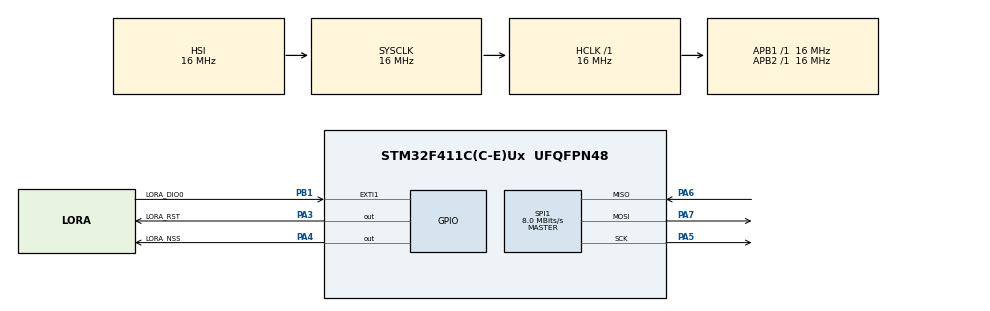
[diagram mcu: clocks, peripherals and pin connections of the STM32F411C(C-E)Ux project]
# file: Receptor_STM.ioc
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Mcu.Family=STM32F4
Mcu.Name=STM32F411C(C-E)Ux
Mcu.Package=UFQFPN48
NVIC.PriorityGroup=NVIC_PRIORITYGROUP_4
PA3.GPIO_Label=LORA_RST
PA3.Signal=GPIO_Output
PA4.GPIO_Label=LORA_NSS
PA4.Signal=GPIO_Output
PA5.Mode=Full_Duplex_Master
PA5.Signal=SPI1_SCK
PA6.Mode=Full_Duplex_Master
PA6.Signal=SPI1_MISO
PA7.Mode=Full_Duplex_Master
PA7.Signal=SPI1_MOSI
PB1.GPIO_Label=LORA_DIO0
PB1.Signal=GPXTI1
ProjectManager.HeapSize=0x200
ProjectManager.StackSize=0x400
ProjectManager.TargetToolchain=STM32CubeIDE
RCC.AHBFreq_Value=16000000
RCC.APB1Freq_Value=16000000
RCC.APB2Freq_Value=16000000
RCC.CortexFreq_Value=16000000
RCC.HSE_VALUE=25000000
RCC.HSI_VALUE=16000000
RCC.LSE_VALUE=32768
RCC.SYSCLKFreq_VALUE=16000000
RCC.VCOOutputFreq_Value=192000000
SPI1.CalculateBaudRate=8.0 MBits/s
SPI1.Direction=SPI_DIRECTION_2LINES
SPI1.Mode=SPI_MODE_MASTER
SPI1.VirtualType=VM_MASTER
board=custom

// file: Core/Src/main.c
/* USER CODE BEGIN Header */
/**
  ******************************************************************************
  * @file           : main.c
  * @brief          : Main program body
  ******************************************************************************
  * @attention
  *
  * Copyright (c) 2026 STMicroelectronics.
  * All rights reserved.
  *
  * This software is licensed under terms that can be found in the LICENSE file
  * in the root directory of this software component.
  * If no LICENSE file comes with this software, it is provided AS-IS.
  *
  ******************************************************************************
  */
/* USER CODE END Header */
#include "main.h"

#include "telemetry.h"
#include <string.h>
#include <stdio.h>
#include <sx1278_rx.h>
#include <sx1278_tx.h>

SPI_HandleTypeDef hspi1;

/* USER CODE BEGIN PV */

// SX1278
volatile uint8_t sx1278_detected = 0;
volatile uint8_t sx1278_version = 0;

volatile uint8_t pkt_valido   = 0;
volatile uint8_t seq          = 0;
volatile int16_t temperature  = 0;
volatile uint16_t altitude      = 0;
volatile uint16_t pressure      = 0;
volatile int8_t rssi         = 0;
volatile int8_t snr          = 0;
volatile uint32_t count        = 0;   // cuántos paquetes válidos recibidos
volatile uint8_t magic			  = 0;
volatile uint8_t checksum_rx	  = 0;
volatile uint8_t sizepkt		  = 0;
volatile uint8_t lora = 1;

// ── DEBUG registros crudos del SX1278 ──
volatile uint8_t reg_opmode   = 0;  // 0x01 — debe ser 0x85 (RX continuo)
volatile uint8_t reg_irqflags = 0;  // 0x12 — aquí veremos qué bits se activan
volatile uint8_t reg_modem1   = 0;  // 0x1D — BW/CR
volatile uint8_t reg_modem2   = 0;  // 0x1E — SF/CRC
volatile uint8_t reg_syncword = 0;  // 0x39 — debe ser 0x34
volatile uint8_t reg_hopch    = 0;  // 0x1C — canal actual
volatile uint8_t reg_rxbytes  = 0;  // 0x13 — bytes en FIFO
/* USER CODE END PV */

void SystemClock_Config(void);
static void MX_GPIO_Init(void);
static void MX_SPI1_Init(void);

/* Checksum: XOR de los bytes (igual que en el transmisor) */
static uint8_t calc_checksum(uint8_t *data, uint8_t len)
{
    uint8_t c = 0;
    for (uint8_t i = 0; i < len; i++) c ^= data[i];
    return c;
}

int main(void)
{

  /* MCU Configuration--------------------------------------------------------*/

  /* Reset of all peripherals, Initializes the Flash interface and the Systick. */
+  HAL_Init();

  /* Configure the system clock */
  SystemClock_Config();

  /* Initialize all configured peripherals */
  MX_GPIO_Init();
  HAL_NVIC_SetPriority(EXTI1_IRQn, 0, 0);   // PB1 → EXTI1
  HAL_NVIC_EnableIRQ(EXTI1_IRQn);
  MX_SPI1_Init();

  /* Infinite loop */
  /* USER CODE BEGIN WHILE */
  sx1278_rx_init();

  reg_modem1   = sx1278_read(0x1D);
  reg_modem2   = sx1278_read(0x1E);
  reg_syncword = sx1278_read(0x39);

  uint8_t rx_buf[64];

  sx1278_version = sx1278_check();

  	  if (sx1278_version == 0x12)
  	  {
  		  sx1278_detected = 1;
  	  }
  	  else
  	  {
  		  sx1278_detected = 0;

  	  }

  	/*
  	// ── TEST: forzar el módulo RX a transmitir ──
  	sx1278__tx_init();  // reconfigura como TX

  	uint8_t test_buf[] = {0xCA, 0x01, 0x02, 0x03};
  	sx1278_send(test_buf, sizeof(test_buf));
  	HAL_Delay(500);

  	sx1278_rx_init();  // volver a RX
  	*/

  	while (1)
  	{

  	    reg_opmode   = sx1278_read(0x01);
  	    reg_irqflags = sx1278_read(0x12);
  	    reg_modem1   = sx1278_read(0x1D);
  	    reg_modem2   = sx1278_read(0x1E);
  	    reg_syncword = sx1278_read(0x39);
  	    reg_hopch    = sx1278_read(0x1C);
  	    reg_rxbytes  = sx1278_read(0x13);

  	    if (sx1278_rx_available())
  	    {
  	    	TelemetryPacketLoRa rxPacket;
  	        if (sx1278_rx_read((uint8_t*)&rxPacket, sizeof(TelemetryPacketLoRa)) > 0)
  	        {
  	        	uint8_t calc_cksum = 0;
  	        	uint8_t *raw = (uint8_t*)&rxPacket;
  	        	for (int i = 0; i < sizeof(TelemetryPacketLoRa) - 1; i++){
  	        		calc_cksum ^= raw[i];
  	        	}

  	        	if (calc_cksum == rxPacket.checksum && rxPacket.magic == 0xCA){
  	        		continue;
  	        	}
  	        }

  	        memcpy(&rxPacket, rx_buf, sizeof(TelemetryPacketLoRa));

  	        if (rxPacket.magic != 0xCA) { magic = rxPacket.magic; continue; }

  	        seq         = rxPacket.pkt;
  	        temperature = rxPacket.temperatura;
  	        altitude    = rxPacket.altitud;
  	        pressure    = rxPacket.presion;
  	        rssi        = sx1278_rx_rssi();
  	        snr         = sx1278_rx_snr();
  	        pkt_valido  = 1;
  	        count++;
  	    }
  	}
  /* USER CODE END 3 */
}

void SystemClock_Config(void)
{
  RCC_OscInitTypeDef RCC_OscInitStruct = {0};
  RCC_ClkInitTypeDef RCC_ClkInitStruct = {0};

  /** Configure the main internal regulator output voltage
  */
  __HAL_RCC_PWR_CLK_ENABLE();
  __HAL_PWR_VOLTAGESCALING_CONFIG(PWR_REGULATOR_VOLTAGE_SCALE1);

  /** Initializes the RCC Oscillators according to the specified parameters
  * in the RCC_OscInitTypeDef structure.
  */
  RCC_OscInitStruct.OscillatorType = RCC_OSCILLATORTYPE_HSI;
  RCC_OscInitStruct.HSIState = RCC_HSI_ON;
  RCC_OscInitStruct.HSICalibrationValue = RCC_HSICALIBRATION_DEFAULT;
  RCC_OscInitStruct.PLL.PLLState = RCC_PLL_NONE;
  if (HAL_RCC_OscConfig(&RCC_OscInitStruct) != HAL_OK)
  {
    Error_Handler();
  }

  /** Initializes the CPU, AHB and APB buses clocks
  */
  RCC_ClkInitStruct.ClockType = RCC_CLOCKTYPE_HCLK|RCC_CLOCKTYPE_SYSCLK
                              |RCC_CLOCKTYPE_PCLK1|RCC_CLOCKTYPE_PCLK2;
  RCC_ClkInitStruct.SYSCLKSource = RCC_SYSCLKSOURCE_HSI;
  RCC_ClkInitStruct.AHBCLKDivider = RCC_SYSCLK_DIV1;
  RCC_ClkInitStruct.APB1CLKDivider = RCC_HCLK_DIV1;
  RCC_ClkInitStruct.APB2CLKDivider = RCC_HCLK_DIV1;

  if (HAL_RCC_ClockConfig(&RCC_ClkInitStruct, FLASH_LATENCY_0) != HAL_OK)
  {
    Error_Handler();
  }
}

static void MX_SPI1_Init(void)
{

  /* SPI1 parameter configuration*/
  hspi1.Instance = SPI1;
  hspi1.Init.Mode = SPI_MODE_MASTER;
  hspi1.Init.Direction = SPI_DIRECTION_2LINES;
  hspi1.Init.DataSize = SPI_DATASIZE_8BIT;
  hspi1.Init.CLKPolarity = SPI_POLARITY_LOW;
  hspi1.Init.CLKPhase = SPI_PHASE_1EDGE;
  hspi1.Init.NSS = SPI_NSS_SOFT;
  hspi1.Init.BaudRatePrescaler = SPI_BAUDRATEPRESCALER_2;
  hspi1.Init.FirstBit = SPI_FIRSTBIT_MSB;
  hspi1.Init.TIMode = SPI_TIMODE_DISABLE;
  hspi1.Init.CRCCalculation = SPI_CRCCALCULATION_DISABLE;
  hspi1.Init.CRCPolynomial = 10;
  if (HAL_SPI_Init(&hspi1) != HAL_OK)
  {
    Error_Handler();
  }

}

static void MX_GPIO_Init(void)
{
  GPIO_InitTypeDef GPIO_InitStruct = {0};

  /* GPIO Ports Clock Enable */
  __HAL_RCC_GPIOA_CLK_ENABLE();
  __HAL_RCC_GPIOB_CLK_ENABLE();

  /*Configure GPIO pin Output Level */
  HAL_GPIO_WritePin(GPIOA, LORA_RST_Pin|LORA_NSS_Pin, GPIO_PIN_RESET);

  /*Configure GPIO pins : LORA_RST_Pin LORA_NSS_Pin */
  GPIO_InitStruct.Pin = LORA_RST_Pin|LORA_NSS_Pin;
  GPIO_InitStruct.Mode = GPIO_MODE_OUTPUT_PP;
  GPIO_InitStruct.Pull = GPIO_NOPULL;
  GPIO_InitStruct.Speed = GPIO_SPEED_FREQ_LOW;
  HAL_GPIO_Init(GPIOA, &GPIO_InitStruct);

  /*Configure GPIO pin : LORA_DIO0_Pin */
  GPIO_InitStruct.Pin = LORA_DIO0_Pin;
  GPIO_InitStruct.Mode = GPIO_MODE_IT_RISING;
  GPIO_InitStruct.Pull = GPIO_NOPULL;
  HAL_GPIO_Init(LORA_DIO0_GPIO_Port, &GPIO_InitStruct);

}

void Error_Handler(void)
{
  __disable_irq();
  while (1)
  {
  }
}
